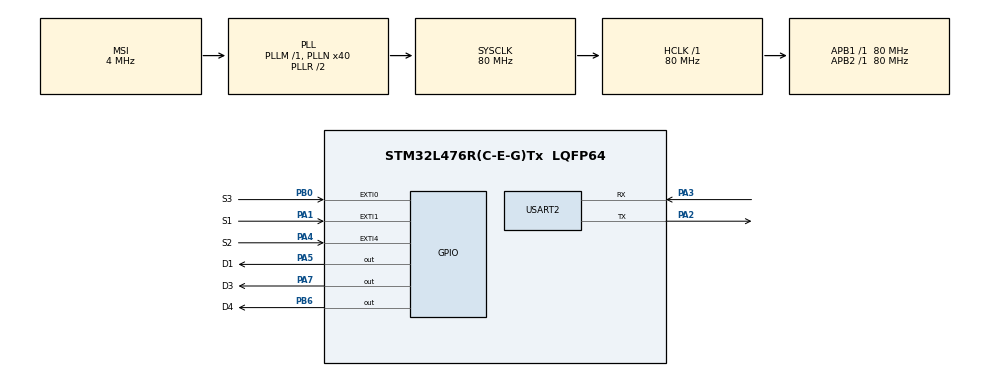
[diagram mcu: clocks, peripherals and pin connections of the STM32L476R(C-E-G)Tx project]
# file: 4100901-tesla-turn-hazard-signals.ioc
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Mcu.Family=STM32L4
Mcu.Name=STM32L476R(C-E-G)Tx
Mcu.Package=LQFP64
NVIC.EXTI1_IRQn=true\:0\:0\:false\:false\:true\:true\:true\:true
NVIC.EXTI4_IRQn=true\:0\:0\:false\:false\:true\:true\:true\:true
NVIC.PriorityGroup=NVIC_PRIORITYGROUP_4
NVIC.USART2_IRQn=true\:0\:0\:false\:false\:true\:true\:true\:true
PA1.GPIO_Label=S1
PA1.GPIO_ModeDefaultEXTI=GPIO_MODE_IT_FALLING
PA1.GPIO_PuPd=GPIO_PULLUP
PA1.Signal=GPXTI1
PA2.Mode=Asynchronous
PA2.Signal=USART2_TX
PA3.Mode=Asynchronous
PA3.Signal=USART2_RX
PA4.GPIO_Label=S2
PA4.GPIO_ModeDefaultEXTI=GPIO_MODE_IT_FALLING
PA4.GPIO_PuPd=GPIO_PULLUP
PA4.Signal=GPXTI4
PA5.GPIO_Label=D1
PA5.PinState=GPIO_PIN_SET
PA5.Signal=GPIO_Output
PA7.GPIO_Label=D3
PA7.PinState=GPIO_PIN_SET
PA7.Signal=GPIO_Output
PB0.GPIO_Label=S3
PB0.GPIO_ModeDefaultEXTI=GPIO_MODE_IT_FALLING
PB0.GPIO_PuPd=GPIO_PULLUP
PB0.Signal=GPXTI0
PB6.GPIO_Label=D4
PB6.PinState=GPIO_PIN_SET
PB6.Signal=GPIO_Output
ProjectManager.HeapSize=0x200
ProjectManager.StackSize=0x400
ProjectManager.TargetToolchain=STM32CubeIDE
RCC.AHBFreq_Value=80000000
RCC.APB1Freq_Value=80000000
RCC.APB1TimFreq_Value=80000000
RCC.APB2Freq_Value=80000000
RCC.APB2TimFreq_Value=80000000
RCC.CortexFreq_Value=80000000
RCC.HCLKFreq_Value=80000000
RCC.HSE_VALUE=8000000
RCC.HSI_VALUE=16000000
RCC.LSE_VALUE=32768
RCC.MSI_VALUE=4000000
RCC.PLLN=40
RCC.SYSCLKFreq_VALUE=80000000
RCC.SYSCLKSource=RCC_SYSCLKSOURCE_PLLCLK
RCC.VCOOutputFreq_Value=160000000
USART2.VirtualMode-Asynchronous=VM_ASYNC
board=custom

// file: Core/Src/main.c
/* USER CODE BEGIN Header */
/**
  ******************************************************************************
  * @file           : main.c
  * @brief          : Main program body
  ******************************************************************************
  * @attention
  *
  * Copyright (c) 2024 STMicroelectronics.
  * All rights reserved.
  *
  * This software is licensed under terms that can be found in the LICENSE file
  * in the root directory of this software component.
  * If no LICENSE file comes with this software, it is provided AS-IS.
  *
  ******************************************************************************
  */
/* USER CODE END Header */
#include "main.h"

UART_HandleTypeDef huart2;

/* USER CODE BEGIN PV */
uint32_t left_toggles = 0;
uint32_t right_toggles = 0;
uint32_t hazard_toggles = 0;

volatile uint8_t left_flag = 0;
volatile uint8_t right_flag = 0;
volatile uint8_t hazard_flag = 0;

/* Configuración de botones y LEDs */
#define BLINK_TIMES 3
#define DOUBLE_CLICK_TIME 300 // Tiempo para doble clic en ms
#define BLINK_PERIOD 670      // Periodo de parpadeo
volatile uint8_t left_button_state = 0;
volatile uint8_t right_button_state = 0;

uint32_t last_left_press = 0;
uint32_t last_right_press = 0;
uint8_t left_blink_count = 0;
uint8_t right_blink_count = 0;
//uint32_t left_last_press_tick = 0;

/* USER CODE END PV */

void SystemClock_Config(void);
static void MX_GPIO_Init(void);
static void MX_USART2_UART_Init(void);
/* USER CODE BEGIN PFP */
void turn_signal_left(void);
void turn_signal_right(void);
void turn_signal_hazard(void);
void hearbeat(void);
void check_buttons(void);
/* USER CODE END PFP */

/* USER CODE BEGIN 0 */
void turn_signal_left(void) {
    static uint32_t turn_toggle_tick = 0;
    if (HAL_GetTick() > turn_toggle_tick) {
        turn_toggle_tick = HAL_GetTick() + BLINK_PERIOD;
        HAL_GPIO_TogglePin(D3_GPIO_Port, D3_Pin);
        left_blink_count++;
        if (left_blink_count >= BLINK_TIMES) {
            left_blink_count = 0;
            left_flag = 0; // Finaliza el parpadeo de 3 veces
        }
    }
}

void turn_signal_right(void) {
    static uint32_t turn_toggle_tick = 0;
    if (HAL_GetTick() > turn_toggle_tick) {
        turn_toggle_tick = HAL_GetTick() + BLINK_PERIOD;
        HAL_GPIO_TogglePin(D4_GPIO_Port, D4_Pin);
        right_blink_count++;
        if (right_blink_count >= BLINK_TIMES) {
            right_blink_count = 0;
            right_flag = 0; // Finaliza el parpadeo de 3 veces
        }
    }
}

void turn_signal_hazard(void) {
    static uint32_t turn_toggle_tick = 0;
    if (HAL_GetTick() > turn_toggle_tick) {
        turn_toggle_tick = HAL_GetTick() + BLINK_PERIOD;
        HAL_GPIO_TogglePin(D3_GPIO_Port, D3_Pin);
        HAL_GPIO_TogglePin(D4_GPIO_Port, D4_Pin);
    }
}

void HAL_GPIO_EXTI_Callback(uint16_t GPIO_Pin) {
    uint32_t current_time = HAL_GetTick();
    if (GPIO_Pin == S1_Pin) { // Giro Izquierda
        if (current_time - last_left_press < DOUBLE_CLICK_TIME) {
            left_flag = 1; // Activar parpadeo indefinido
        } else {
            left_blink_count = 0;
            left_flag = 1; // Activar parpadeo de 3 veces
        }
        last_left_press = current_time;
        HAL_UART_Transmit(&huart2, (uint8_t*)"LEFT\r\n", 6, HAL_MAX_DELAY);
    } else if (GPIO_Pin == S3_Pin) { // Giro Derecha
        if (current_time - last_right_press < DOUBLE_CLICK_TIME) {
            right_flag = 1; // Activar parpadeo indefinido
        } else {
            right_blink_count = 0;
            right_flag = 1; // Activar parpadeo de 3 veces
        }
        last_right_press = current_time;
        HAL_UART_Transmit(&huart2, (uint8_t*)"RIGHT\r\n", 7, HAL_MAX_DELAY);
    } else if (GPIO_Pin == S2_Pin) { // Estacionar
        hazard_flag = !hazard_flag; // Alternar estado de estacionar
        HAL_UART_Transmit(&huart2, (uint8_t*)"HAZARD\r\n", 8, HAL_MAX_DELAY);
    }
}

void hearbeat(void) {
    static uint32_t heartbeat_tick = 0;
    if (HAL_GetTick() > heartbeat_tick) {
        heartbeat_tick = HAL_GetTick() + 1000; // Frecuencia de 1Hz
        HAL_GPIO_TogglePin(D1_GPIO_Port, D1_Pin); // LED Heartbeat
    }
}
/* USER CODE END 0 */

int main(void)
{

  /* MCU Configuration--------------------------------------------------------*/

  /* Reset of all peripherals, Initializes the Flash interface and the Systick. */
  HAL_Init();

  /* Configure the system clock */
  SystemClock_Config();

  /* Initialize all configured peripherals */
  MX_GPIO_Init();
  MX_USART2_UART_Init();

  /* Infinite loop */
  /* USER CODE BEGIN WHILE */
  while (1)
  {
	  hearbeat();

  if (left_flag) {
      turn_signal_left();
  }
  if (right_flag) {
      turn_signal_right();
  }
  if (hazard_flag) {
      turn_signal_hazard();
  }
    /* USER CODE END WHILE */

  }
}

void SystemClock_Config(void)
{
  RCC_OscInitTypeDef RCC_OscInitStruct = {0};
  RCC_ClkInitTypeDef RCC_ClkInitStruct = {0};

  /** Configure the main internal regulator output voltage
  */
  if (HAL_PWREx_ControlVoltageScaling(PWR_REGULATOR_VOLTAGE_SCALE1) != HAL_OK)
  {
    Error_Handler();
  }

  /** Initializes the RCC Oscillators according to the specified parameters
  * in the RCC_OscInitTypeDef structure.
  */
  RCC_OscInitStruct.OscillatorType = RCC_OSCILLATORTYPE_MSI;
  RCC_OscInitStruct.MSIState = RCC_MSI_ON;
  RCC_OscInitStruct.MSICalibrationValue = 0;
  RCC_OscInitStruct.MSIClockRange = RCC_MSIRANGE_6;
  RCC_OscInitStruct.PLL.PLLState = RCC_PLL_ON;
  RCC_OscInitStruct.PLL.PLLSource = RCC_PLLSOURCE_MSI;
  RCC_OscInitStruct.PLL.PLLM = 1;
  RCC_OscInitStruct.PLL.PLLN = 40;
  RCC_OscInitStruct.PLL.PLLP = RCC_PLLP_DIV7;
  RCC_OscInitStruct.PLL.PLLQ = RCC_PLLQ_DIV2;
  RCC_OscInitStruct.PLL.PLLR = RCC_PLLR_DIV2;
  if (HAL_RCC_OscConfig(&RCC_OscInitStruct) != HAL_OK)
  {
    Error_Handler();
  }

  /** Initializes the CPU, AHB and APB buses clocks
  */
  RCC_ClkInitStruct.ClockType = RCC_CLOCKTYPE_HCLK|RCC_CLOCKTYPE_SYSCLK
                              |RCC_CLOCKTYPE_PCLK1|RCC_CLOCKTYPE_PCLK2;
  RCC_ClkInitStruct.SYSCLKSource = RCC_SYSCLKSOURCE_PLLCLK;
  RCC_ClkInitStruct.AHBCLKDivider = RCC_SYSCLK_DIV1;
  RCC_ClkInitStruct.APB1CLKDivider = RCC_HCLK_DIV1;
  RCC_ClkInitStruct.APB2CLKDivider = RCC_HCLK_DIV1;

  if (HAL_RCC_ClockConfig(&RCC_ClkInitStruct, FLASH_LATENCY_4) != HAL_OK)
  {
    Error_Handler();
  }
}

static void MX_USART2_UART_Init(void)
{

  huart2.Instance = USART2;
  huart2.Init.BaudRate = 115200;
  huart2.Init.WordLength = UART_WORDLENGTH_8B;
  huart2.Init.StopBits = UART_STOPBITS_1;
  huart2.Init.Parity = UART_PARITY_NONE;
  huart2.Init.Mode = UART_MODE_TX_RX;
  huart2.Init.HwFlowCtl = UART_HWCONTROL_NONE;
  huart2.Init.OverSampling = UART_OVERSAMPLING_16;
  huart2.Init.OneBitSampling = UART_ONE_BIT_SAMPLE_DISABLE;
  huart2.AdvancedInit.AdvFeatureInit = UART_ADVFEATURE_NO_INIT;
  if (HAL_UART_Init(&huart2) != HAL_OK)
  {
    Error_Handler();
  }

}

static void MX_GPIO_Init(void)
{
  GPIO_InitTypeDef GPIO_InitStruct = {0};

  /* GPIO Ports Clock Enable */
  __HAL_RCC_GPIOA_CLK_ENABLE();
  __HAL_RCC_GPIOB_CLK_ENABLE();

  /*Configure GPIO pin Output Level */
  HAL_GPIO_WritePin(GPIOA, D1_Pin|D3_Pin, GPIO_PIN_SET);

  /*Configure GPIO pin Output Level */
  HAL_GPIO_WritePin(D4_GPIO_Port, D4_Pin, GPIO_PIN_SET);

  /*Configure GPIO pins : S1_Pin S2_Pin */
  GPIO_InitStruct.Pin = S1_Pin|S2_Pin;
  GPIO_InitStruct.Mode = GPIO_MODE_IT_FALLING;
  GPIO_InitStruct.Pull = GPIO_PULLUP;
  HAL_GPIO_Init(GPIOA, &GPIO_InitStruct);

  /*Configure GPIO pins : D1_Pin D3_Pin */
  GPIO_InitStruct.Pin = D1_Pin|D3_Pin;
  GPIO_InitStruct.Mode = GPIO_MODE_OUTPUT_PP;
  GPIO_InitStruct.Pull = GPIO_NOPULL;
  GPIO_InitStruct.Speed = GPIO_SPEED_FREQ_LOW;
  HAL_GPIO_Init(GPIOA, &GPIO_InitStruct);

  /*Configure GPIO pin : S3_Pin */
  GPIO_InitStruct.Pin = S3_Pin;
  GPIO_InitStruct.Mode = GPIO_MODE_IT_FALLING;
  GPIO_InitStruct.Pull = GPIO_PULLUP;
  HAL_GPIO_Init(S3_GPIO_Port, &GPIO_InitStruct);

  /*Configure GPIO pin : D4_Pin */
  GPIO_InitStruct.Pin = D4_Pin;
  GPIO_InitStruct.Mode = GPIO_MODE_OUTPUT_PP;
  GPIO_InitStruct.Pull = GPIO_NOPULL;
  GPIO_InitStruct.Speed = GPIO_SPEED_FREQ_LOW;
  HAL_GPIO_Init(D4_GPIO_Port, &GPIO_InitStruct);

  /* EXTI interrupt init*/
  HAL_NVIC_SetPriority(EXTI1_IRQn, 0, 0);
  HAL_NVIC_EnableIRQ(EXTI1_IRQn);

  HAL_NVIC_SetPriority(EXTI4_IRQn, 0, 0);
  HAL_NVIC_EnableIRQ(EXTI4_IRQn);

}

void Error_Handler(void)
{
  __disable_irq();
  while (1)
  {
  }
}
